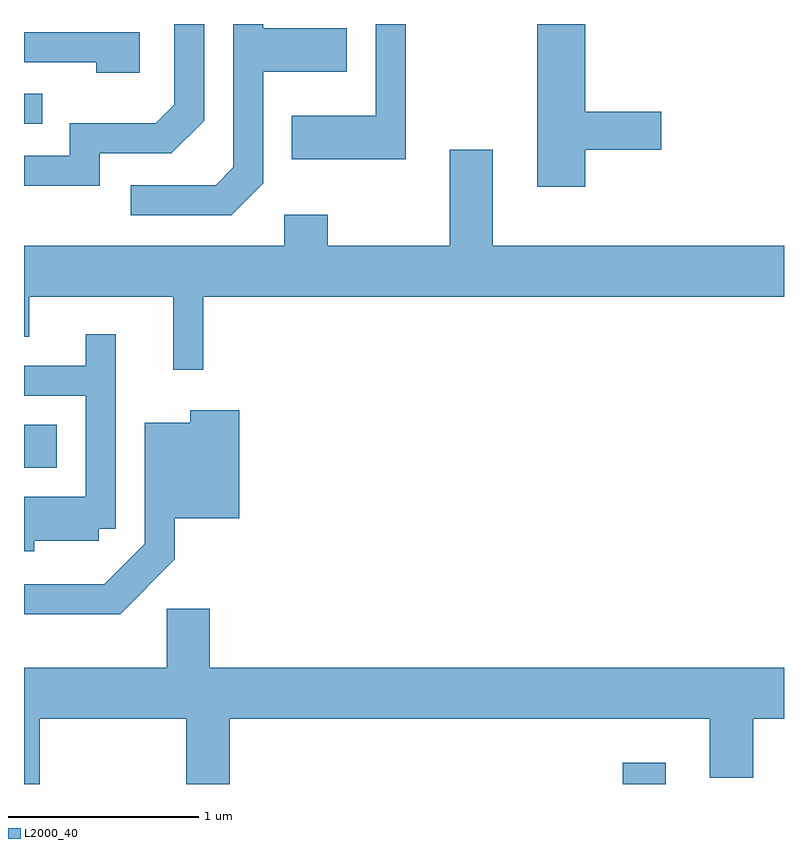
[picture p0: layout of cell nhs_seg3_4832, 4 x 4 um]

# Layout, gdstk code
import gdstk
lib = gdstk.Library(unit=1e-6, precision=1e-09)
def R(c, l, rs):  # rectangles x0, y0, x1, y1
    for r in rs: c.add(gdstk.rectangle(r[:2], r[2:], *l))
def P(c, l, *ps):  # polygons
    for p in ps: c.add(gdstk.Polygon(p, *l))
L2000_40 = (2000, 40)

nhs_seg3_4832 = lib.new_cell('nhs_seg3_4832')
R(nhs_seg3_4832, L2000_40, [(330.761,1127.892,330.989,1128.004), (327.611,1129.556,327.784,1129.784), (327.611,1131.366,327.708,1131.524)])
P(nhs_seg3_4832, L2000_40, [(328.869,1131.054),(328.869,1131.641),(329.309,1131.641),(329.309,1131.869),(328.869,1131.869),(328.869,1131.892),(328.711,1131.892),(328.711,1131.137),(328.619,1131.044),(328.173,1131.044),(328.173,1130.886),(328.702,1130.886)],
  [(328.009,1131.211),(328.387,1131.211),(328.559,1131.384),(328.559,1131.892),(328.401,1131.892),(328.401,1131.467),(328.304,1131.369),(327.851,1131.369),(327.851,1131.199),(327.611,1131.199),(327.611,1131.041),(328.009,1131.041)],
  [(329.619,1131.892),(329.461,1131.892),(329.461,1131.409),(329.021,1131.409),(329.021,1131.181),(329.619,1131.181)],
  [(330.564,1131.231),(330.964,1131.231),(330.964,1131.429),(330.564,1131.429),(330.564,1131.892),(330.311,1131.892),(330.311,1131.036),(330.564,1131.036)],
  [(328.219,1131.849),(327.611,1131.849),(327.611,1131.691),(327.991,1131.691),(327.991,1131.636),(328.219,1131.636)],
  [(328.554,1130.456),(331.611,1130.456),(331.611,1130.724),(330.079,1130.724),(330.079,1131.229),(329.851,1131.229),(329.851,1130.724),(329.209,1130.724),(329.209,1130.889),(328.981,1130.889),(328.981,1130.724),(327.611,1130.724),(327.611,1130.246),(327.639,1130.246),(327.639,1130.456),(328.396,1130.456),(328.396,1130.073),(328.554,1130.073)],
  [(327.664,1129.171),(328.004,1129.171),(328.004,1129.236),(328.094,1129.236),(328.094,1130.258),(327.936,1130.258),(327.936,1130.094),(327.611,1130.094),(327.611,1129.936),(327.936,1129.936),(327.936,1129.404),(327.611,1129.404),(327.611,1129.116),(327.664,1129.116)],
  [(328.404,1129.074),(328.404,1129.291),(328.744,1129.291),(328.744,1129.859),(328.486,1129.859),(328.486,1129.794),(328.246,1129.794),(328.246,1129.157),(328.034,1128.944),(327.611,1128.944),(327.611,1128.786),(328.117,1128.786)],
  [(327.694,1128.236),(328.466,1128.236),(328.466,1127.892),(328.694,1127.892),(328.694,1128.236),(331.221,1128.236),(331.221,1127.926),(331.449,1127.926),(331.449,1128.236),(331.611,1128.236),(331.611,1128.504),(328.589,1128.504),(328.589,1128.814),(328.361,1128.814),(328.361,1128.504),(327.611,1128.504),(327.611,1127.892),(327.694,1127.892)])

lib.write_gds('nhs_seg3_4832.gds')
